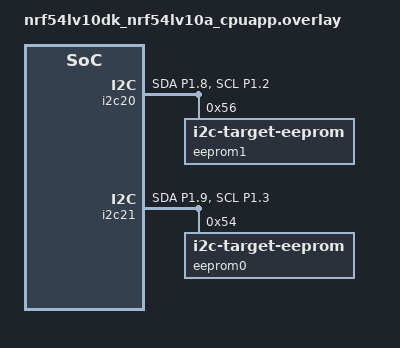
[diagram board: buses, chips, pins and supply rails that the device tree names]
/*
 * Copyright (c) 2026 Nordic Semiconductor ASA
 *
 * SPDX-License-Identifier: Apache-2.0
 */

/*
 * SDA = P1.08 and P1.09
 * SCL = P1.02 and P1.03
 */

&pinctrl {
	i2c20_default: i2c20_default {
		group1 {
			psels = <NRF_PSEL(TWIM_SDA, 1, 8)>,
				<NRF_PSEL(TWIM_SCL, 1, 2)>;
			bias-pull-up;
		};
	};

	i2c20_sleep: i2c20_sleep {
		group1 {
			psels = <NRF_PSEL(TWIM_SDA, 1, 8)>,
				<NRF_PSEL(TWIM_SCL, 1, 2)>;
			low-power-enable;
		};
	};

	i2c21_default: i2c21_default {
		group1 {
			psels = <NRF_PSEL(TWIS_SDA, 1, 9)>,
				<NRF_PSEL(TWIS_SCL, 1, 3)>;
			bias-pull-up;
		};
	};

	i2c21_sleep: i2c21_sleep {
		group1 {
			psels = <NRF_PSEL(TWIS_SDA, 1, 9)>,
				<NRF_PSEL(TWIS_SCL, 1, 3)>;
			low-power-enable;
		};
	};
};

&i2c20 {
	pinctrl-0 = <&i2c20_default>;
	pinctrl-1 = <&i2c20_sleep>;
	pinctrl-names = "default", "sleep";
	zephyr,concat-buf-size = <256>;
	status = "okay";

	eeprom1: eeprom@56 {
		compatible = "zephyr,i2c-target-eeprom";
		reg = <0x56>;
		address-width = <8>;
		size = <256>;
	};
};

&i2c21 {
	compatible = "nordic,nrf-twis";
	pinctrl-0 = <&i2c21_default>;
	pinctrl-1 = <&i2c21_sleep>;
	pinctrl-names = "default", "sleep";
	status = "okay";

	eeprom0: eeprom@54 {
		compatible = "zephyr,i2c-target-eeprom";
		reg = <0x54>;
		address-width = <8>;
		size = <256>;
	};
};
